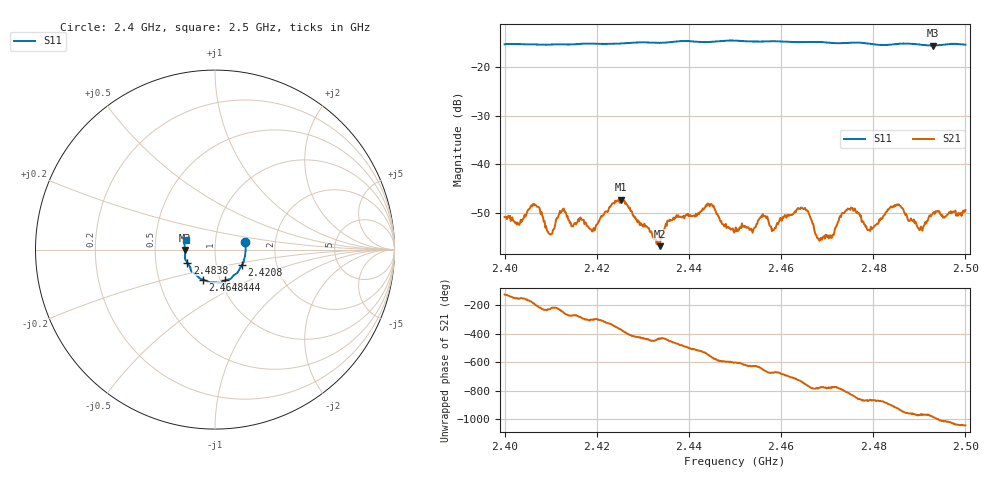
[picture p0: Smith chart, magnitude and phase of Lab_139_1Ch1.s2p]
# Hz S RI R 50
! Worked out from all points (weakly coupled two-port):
!   601 points, 2.4 GHz to 2.5 GHz, reference 50 ohm
!   highest |S21| = -47.35 dB at 2.4253 GHz (marker M1); lowest = -56.9 dB at 2.4337 GHz (marker M2)
!   lowest |S11| = -15.6 dB at 2.493 GHz (marker M3), VSWR 1.40, Z = 35.7 - j0.18 ohm
!   |S11| at or under -10 dB: start of sweep to end of sweep
!   S12 and S22 are empty: the file has one direction only
!   S11 on the Smith chart (normalised r, x): 2.4 GHz: 1.39, +0.12; 2.4208 GHz: 1.33, -0.24; 2.444 GHz: 1.05, -0.37; 2.4648 GHz: 0.83, -0.29; 2.4838 GHz: 0.73, -0.11; 2.5 GHz: 0.72, +0.08
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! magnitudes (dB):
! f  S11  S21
! 2.4 GHz  -15.3  -50.9
! 2.4067 GHz  -15.4  -48.4
! 2.4098 GHz  -15.4  -54.5
! 2.4123 GHz  -15.3  -49.8
! 2.4167 GHz  -15.2  -51.5
! 2.4208 GHz  -15.2  -51.0
! 2.4253 GHz  -15.2  -47.4
! 2.4333 GHz  -15.0  -56.5
! 2.4337 GHz  -15.0  -56.9
! 2.4358 GHz  -14.9  -51.4
! 2.444 GHz  -14.9  -48.2
! 2.45 GHz  -14.6  -53.8
! 2.4648 GHz  -14.9  -49.3
! 2.4667 GHz  -14.8  -51.7
! 2.4685 GHz  -14.9  -55.4
! 2.4747 GHz  -15.0  -49.3
! 2.4792 GHz  -15.2  -53.5
! 2.4833 GHz  -15.4  -49.3
! 2.4838 GHz  -15.4  -48.8
! 2.4902 GHz  -15.4  -53.6
! 2.493 GHz  -15.6  -50.1
! 2.5 GHz  -15.4  -49.4
